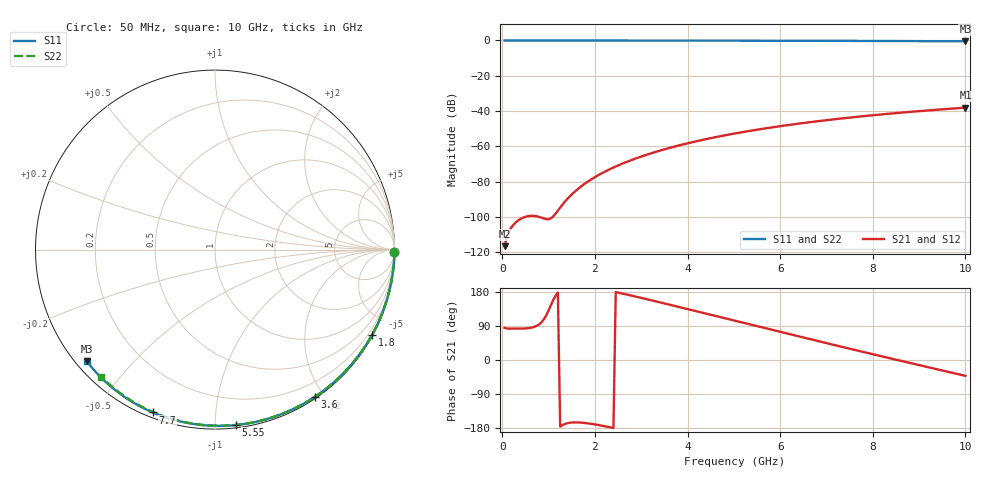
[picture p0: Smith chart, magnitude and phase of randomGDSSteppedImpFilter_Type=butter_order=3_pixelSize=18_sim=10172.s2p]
! freq	dB(S11)	phase(S11)	dB(S12)	phase(S12)
!  dB(S21)	phase(S21)	dB(S22)	phase(S22)
!S-par simulation data
#  GHz  S  DB  R 50
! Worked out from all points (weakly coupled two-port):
!   200 points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, 50 MHz to 10 GHz, reference 50 ohm
!   highest |S21| = -38.10 dB at 10 GHz (marker M1); lowest = -116.7 dB at 50 MHz (marker M2)
!   lowest |S11| = -0.5 dB at 10 GHz (marker M3), VSWR 36.88, Z = 1.55 - j18.7 ohm
!   |S11| at or under -10 dB: nowhere
!   |S22| runs from -0.4 to 0.0 dB; largest |S21 - S12| = 0
!   S11 on the Smith chart (normalised r, x): 50 MHz: open; 1.8 GHz: 0.03, -3.93; 3.6 GHz: 0.02, -1.89; 5.55 GHz: 0.02, -1.13; 7.7 GHz: 0.02, -0.69; 10 GHz: 0.03, -0.37
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0.05  -0.00 -0.8  -116.65 85.0  -116.65 85.0  -0.00 -0.8
0.45  -0.01 -7.3  -100.47 83.0  -100.47 83.0  -0.01 -6.8
0.9  -0.02 -14.4  -101.00 107.6  -101.00 107.6  -0.02 -13.6
1.75  -0.04 -27.8  -81.82 -165.8  -81.82 -165.8  -0.03 -26.3
1.8  -0.04 -28.6  -80.88 -166.4  -80.88 -166.4  -0.03 -27.0
1.85  -0.04 -29.3  -79.99 -167.2  -79.99 -167.2  -0.04 -27.7
2  -0.04 -31.7  -77.51 -170.0  -77.51 -170.0  -0.04 -29.9
2.15  -0.04 -34.0  -75.29 -173.3  -75.29 -173.3  -0.04 -32.1
2.35  -0.05 -37.1  -72.66 -178.2  -72.66 -178.2  -0.04 -35.0
2.55  -0.05 -40.1  -70.31 176.6  -70.31 176.6  -0.05 -37.9
2.95  -0.06 -46.1  -66.28 165.4  -66.28 165.4  -0.06 -43.7
3.4  -0.07 -52.8  -62.49 152.3  -62.49 152.3  -0.07 -50.0
3.6  -0.08 -55.8  -61.01 146.3  -61.01 146.3  -0.07 -52.8
4.3  -0.09 -65.9  -56.51 125.3  -56.51 125.3  -0.09 -62.4
5.05  -0.12 -76.4  -52.61 102.7  -52.61 102.7  -0.11 -72.4
5.55  -0.14 -83.2  -50.39 87.6  -50.39 87.6  -0.13 -78.8
6.1  -0.16 -90.5  -48.24 71.2  -48.24 71.2  -0.15 -85.8
6.7  -0.19 -98.3  -46.15 53.3  -46.15 53.3  -0.18 -93.3
7.7  -0.25 -110.9  -43.20 24.0  -43.20 24.0  -0.24 -105.3
8.35  -0.30 -119.0  -41.55 5.2  -41.55 5.2  -0.29 -112.9
9.2  -0.38 -129.3  -39.65 -19.1  -39.65 -19.1  -0.36 -122.7
10  -0.47 -138.9  -38.10 -41.8  -38.10 -41.8  -0.45 -131.7
